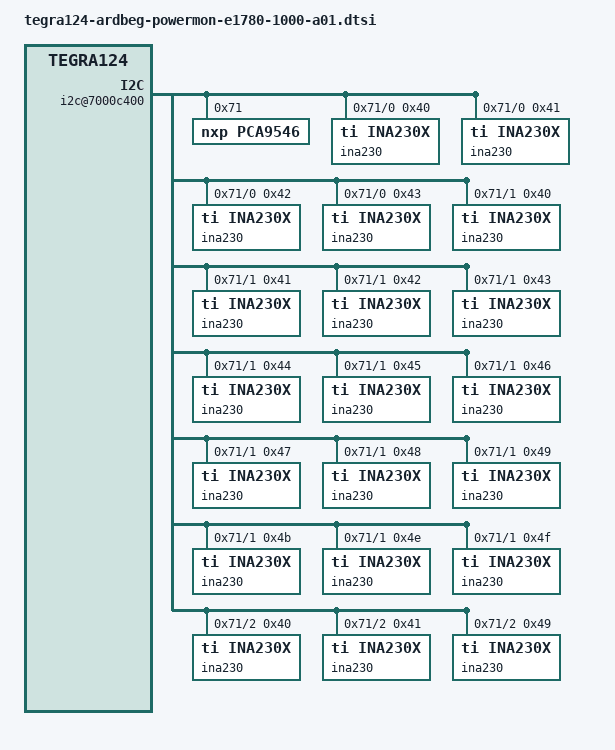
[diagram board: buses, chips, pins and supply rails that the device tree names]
/*
 * Copyright (c) 2014, NVIDIA CORPORATION.  All rights reserved.
 *
 * This program is free software; you can redistribute it and/or modify
 * it under the terms of the GNU General Public License as published by
 * the Free Software Foundation; either version 2 of the License, or
 * (at your option) any later version.
 *
 * This program is distributed in the hope that it will be useful, but WITHOUT
 * ANY WARRANTY; without even the implied warranty of MERCHANTABILITY or
 * FITNESS FOR A PARTICULAR PURPOSE.  See the GNU General Public License for
 * more details.
 *
 * You should have received a copy of the GNU General Public License along
 * with this program; if not, write to the Free Software Foundation, Inc.,
 * 51 Franklin Street, Fifth Floor, Boston, MA  02110-1301, USA.
 */
/ {
	i2c@7000c400 {
		pca9546@71 {
			compatible = "nxp,pca9546";
			reg = <0x71>;
			#address-cells = <1>;
			#size-cells = <0>;
			pca9546_i2c0: i2c@0 {
				reg = <0>;
				i2c-mux,deselect-on-exit;
				#address-cells = <1>;
				#size-cells = <0>;

				ina230@40{
					compatible = "ti,ina230x";
					reg = <0x40>;
					ti,rail-name = "__VDD_BAT";
					ti,continuous-config = <0x0407>;
					ti,trigger-config = <0x0403>;
					ti,resistor = <10>;
					ti,calibration-data = <0x1366>;
					ti,power-lsb = <2577>;
					ti,divisor = <25>;
					ti,precision-multiplier = <1000>;
				};

				ina230@41{
					compatible = "ti,ina230x";
					reg = <0x41>;
					ti,rail-name = "__VDD_SYS_BUCKCPU";
					ti,continuous-config = <0x0407>;
					ti,trigger-config = <0x0403>;
					ti,resistor = <10>;
					ti,calibration-data = <0x1AC5>;
					ti,power-lsb = <1867>;
					ti,divisor = <25>;
					ti,precision-multiplier = <1000>;
				};

				ina230@42{
					compatible = "ti,ina230x";
					reg = <0x42>;
					ti,rail-name = "__VDD_SYS_BUCKSOC";
					ti,continuous-config = <0x0407>;
					ti,trigger-config = <0x0403>;
					ti,resistor = <20>;
					ti,calibration-data = <0x2802>;
					ti,power-lsb = <624>;
					ti,divisor = <25>;
					ti,precision-multiplier = <1000>;
				};

				ina230@43{
					compatible = "ti,ina230x";
					reg = <0x43>;
					ti,rail-name = "__VDD_SYS_BUCKGPU";
					ti,continuous-config = <0x0407>;
					ti,trigger-config = <0x0403>;
					ti,resistor = <10>;
					ti,calibration-data = <0x1F38>;
					ti,power-lsb = <1601>;
					ti,divisor = <25>;
					ti,precision-multiplier = <1000>;
				};
			};

			pca9546_i2c1: i2c@1 {
				reg = <1>;
				i2c-mux,deselect-on-exit;
				#address-cells = <1>;
				#size-cells = <0>;
				ina230@40{
					compatible = "ti,ina230x";
					reg = <0x40>;
					ti,rail-name = "VDD_SYS_BAT";
					ti,continuous-config = <0x0407>;
					ti,trigger-config = <0x0403>;
					ti,resistor = <10>;
					ti,calibration-data = <0x1366>;
					ti,power-lsb = <2577>;
					ti,divisor = <25>;
					ti,precision-multiplier = <1000>;
				};

				ina230@41{
					compatible = "ti,ina230x";
					reg = <0x41>;
					ti,rail-name = "VDD_RTC_LDO3";
					ti,continuous-config = <0x0407>;
					ti,trigger-config = <0x0403>;
					ti,resistor = <50>;
					ti,calibration-data = <0x7FFF>;
					ti,power-lsb = <78>;
					ti,divisor = <25>;
					ti,precision-multiplier = <1000>;
				};

				ina230@42{
					compatible = "ti,ina230x";
					reg = <0x42>;
					ti,rail-name = "VDD_SYS_BUCKSOC";
					ti,continuous-config = <0x0407>;
					ti,trigger-config = <0x0403>;
					ti,resistor = <30>;
					ti,calibration-data = <0x1AAC>;
					ti,power-lsb = <624>;
					ti,divisor = <25>;
					ti,precision-multiplier = <1000>;
				};

				ina230@43{
					compatible = "ti,ina230x";
					reg = <0x43>;
					ti,rail-name = "VDD_SOC_SD1";
					ti,continuous-config = <0x0407>;
					ti,trigger-config = <0x0403>;
					ti,resistor = <1>;
					ti,calibration-data = <0x7FFF>;
					ti,power-lsb = <3906>;
					ti,divisor = <25>;
					ti,precision-multiplier = <1000>;
				};

				ina230@44{
					compatible = "ti,ina230x";
					reg = <0x44>;
					ti,rail-name = "VDD_SYS_BUCKCPU";
					ti,continuous-config = <0x0407>;
					ti,trigger-config = <0x0403>;
					ti,resistor = <10>;
					ti,calibration-data = <0x1AC5>;
					ti,power-lsb = <1867>;
					ti,divisor = <25>;
					ti,precision-multiplier = <1000>;
				};

				ina230@45{
					compatible = "ti,ina230x";
					reg = <0x45>;
					ti,rail-name = "VDD_CPU_BUCKCPU";
					ti,continuous-config = <0x0407>;
					ti,trigger-config = <0x0403>;
					ti,resistor = <1>;
					ti,calibration-data = <0x2ECF>;
					ti,power-lsb = <10681>;
					ti,divisor = <25>;
					ti,precision-multiplier = <1000>;
				};

				ina230@46{
					compatible = "ti,ina230x";
					reg = <0x46>;
					ti,rail-name = "VDD_1V8_SD5";
					ti,continuous-config = <0x0407>;
					ti,trigger-config = <0x0403>;
					ti,resistor = <10>;
					ti,calibration-data = <0x45F0>;
					ti,power-lsb = <714>;
					ti,divisor = <25>;
					ti,precision-multiplier = <1000>;
				};

				ina230@47{
					compatible = "ti,ina230x";
					reg = <0x47>;
					ti,rail-name = "VDD_3V3A_LDO1_6";
					ti,continuous-config = <0x0407>;
					ti,trigger-config = <0x0403>;
					ti,resistor = <200>;
					ti,calibration-data = <0x3A83>;
					ti,power-lsb = <42>;
					ti,divisor = <25>;
					ti,precision-multiplier = <1000>;
				};

				ina230@48{
					compatible = "ti,ina230x";
					reg = <0x48>;
					ti,rail-name = "VDD_DIS_3V3_LCD";
					ti,continuous-config = <0x0407>;
					ti,trigger-config = <0x0403>;
					ti,resistor = <10>;
					ti,calibration-data = <0x7FFF>;
					ti,power-lsb = <390>;
					ti,divisor = <25>;
					ti,precision-multiplier = <1000>;
				};

				ina230@49{
					compatible = "ti,ina230x";
					reg = <0x49>;
					ti,rail-name = "VDD_1V35_SD2";
					ti,continuous-config = <0x0407>;
					ti,trigger-config = <0x0403>;
					ti,resistor = <1>;
					ti,calibration-data = <0x7FFF>;
					ti,power-lsb = <3906>;
					ti,divisor = <25>;
					ti,precision-multiplier = <1000>;
				};

				ina230@4b{
					compatible = "ti,ina230x";
					reg = <0x4b>;
					ti,rail-name = "VDD_SYS_BUCKGPU";
					ti,continuous-config = <0x0407>;
					ti,trigger-config = <0x0403>;
					ti,resistor = <10>;
					ti,calibration-data = <0x1F38>;
					ti,power-lsb = <1601>;
					ti,divisor = <25>;
					ti,precision-multiplier = <1000>;
				};

				ina230@4e{
					compatible = "ti,ina230x";
					reg = <0x4e>;
					ti,rail-name = "VDD_LCD_1V8B_DIS";
					ti,continuous-config = <0x0407>;
					ti,trigger-config = <0x0403>;
					ti,resistor = <100>;
					ti,calibration-data = <0x7FFF>;
					ti,power-lsb = <39>;
					ti,divisor = <25>;
					ti,precision-multiplier = <1000>;
				};

				ina230@4f{
					compatible = "ti,ina230x";
					reg = <0x4f>;
					ti,rail-name = "VDD_1V05_LDO0";
					ti,continuous-config = <0x0407>;
					ti,trigger-config = <0x0403>;
					ti,resistor = <30>;
					ti,calibration-data = <0x7FFF>;
					ti,power-lsb = <130>;
					ti,divisor = <25>;
					ti,precision-multiplier = <1000>;
				};
			};

			pca9546_i2c2: i2c@2 {
				reg = <2>;
				i2c-mux,deselect-on-exit;
				#address-cells = <1>;
				#size-cells = <0>;
				ina230@40{
					compatible = "ti,ina230x";
					reg = <0x40>;
					ti,rail-name = "VDD_1V05_SD4";
					ti,continuous-config = <0x0407>;
					ti,trigger-config = <0x0403>;
					ti,resistor = <10>;
					ti,calibration-data = <0x7FFF>;
					ti,power-lsb = <390>;
					ti,divisor = <25>;
					ti,precision-multiplier = <1000>;
				};

				ina230@41{
					compatible = "ti,ina230x";
					reg = <0x41>;
					ti,rail-name = "VDD_1V8A_LDO2_5_7";
					ti,continuous-config = <0x0407>;
					ti,trigger-config = <0x0403>;
					ti,resistor = <20>;
					ti,calibration-data = <0x5A04>;
					ti,power-lsb = <277>;
					ti,divisor = <25>;
					ti,precision-multiplier = <1000>;
				};

				ina230@49{
					compatible = "ti,ina230x";
					reg = <0x49>;
					ti,rail-name = "VDD_SYS_BL";
					ti,continuous-config = <0x0407>;
					ti,trigger-config = <0x0403>;
					ti,resistor = <50>;
					ti,calibration-data = <0x2468>;
					ti,power-lsb = <274>;
					ti,divisor = <25>;
					ti,precision-multiplier = <1000>;
				};
			};

			pca9546_i2c3: i2c@3 {
				reg = <3>;
				i2c-mux,deselect-on-exit;
				#address-cells = <1>;
				#size-cells = <0>;
			};
		};
	};
};
